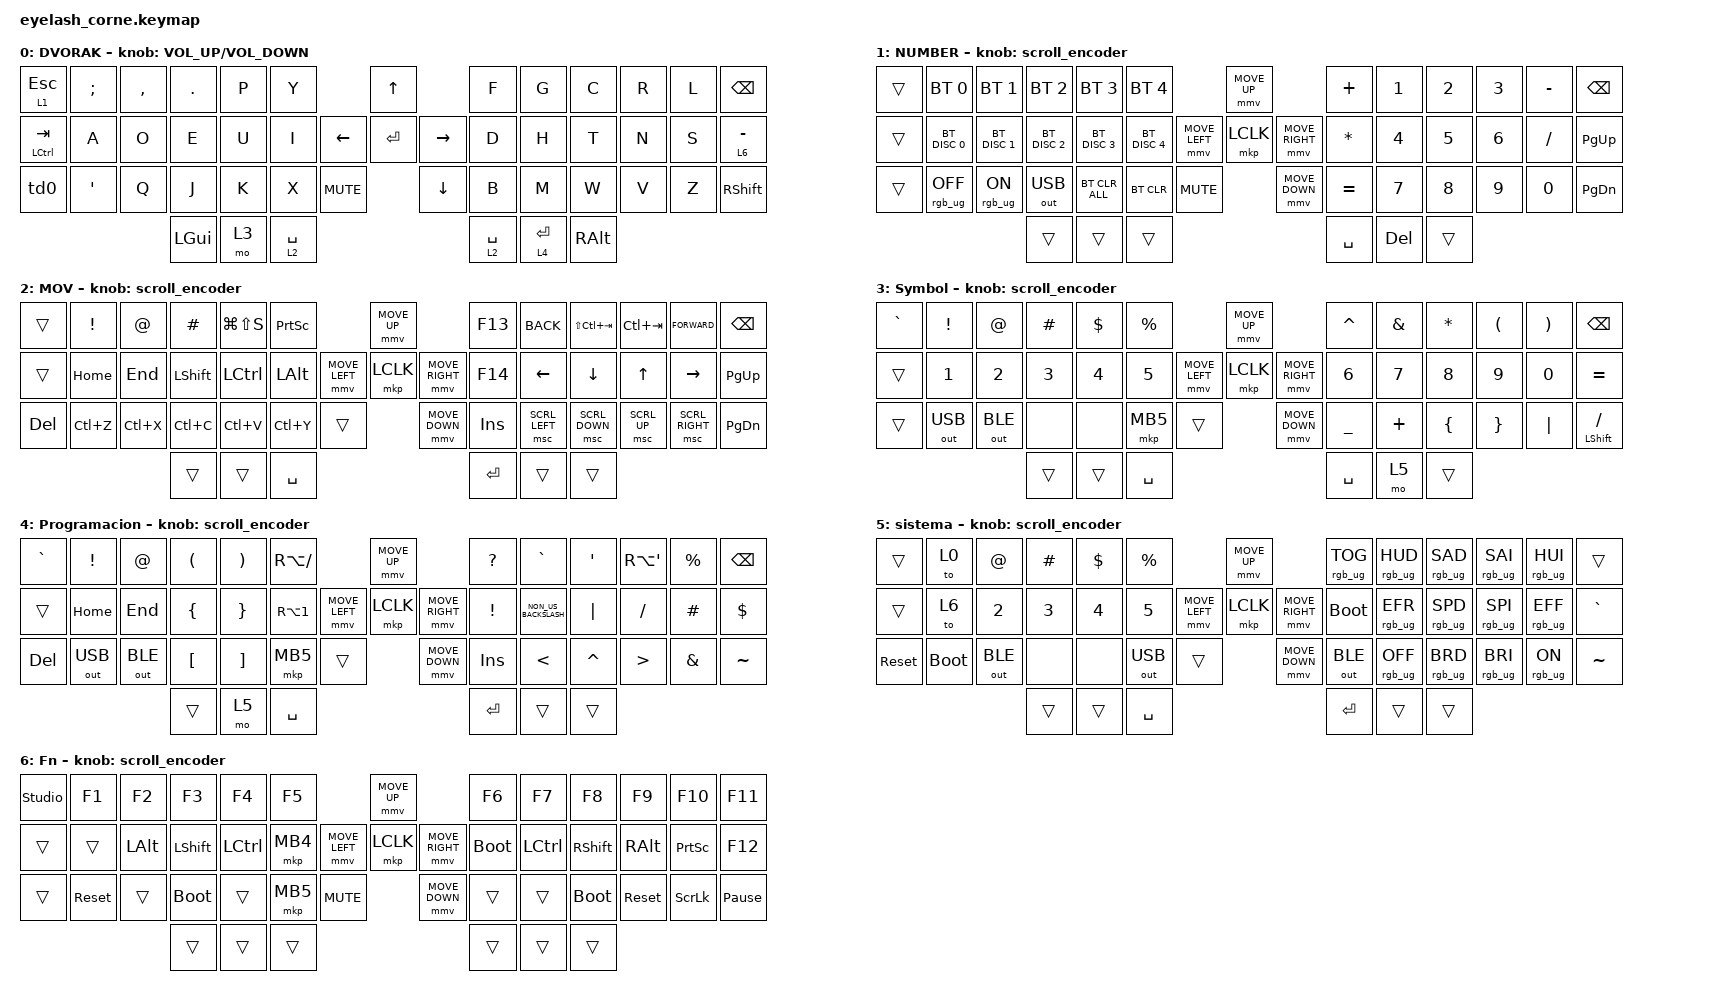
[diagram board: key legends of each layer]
#define ZMK_POINTING_DEFAULT_MOVE_VAL 1200  // 600
#define ZMK_POINTING_DEFAULT_SCRL_VAL 25   // 10

#include <input/processors.dtsi>
#include <zephyr/dt-bindings/input/input-event-codes.h>
#include <behaviors.dtsi>
#include <dt-bindings/zmk/bt.h>
#include <dt-bindings/zmk/keys.h>
#include <dt-bindings/zmk/outputs.h>
#include <dt-bindings/zmk/pointing.h>
#include <dt-bindings/zmk/rgb.h>

&mmv_input_listener { input-processors = <&zip_xy_scaler 2 1>; };

&msc_input_listener { input-processors = <&zip_scroll_scaler 2 1>; };

&msc {
    acceleration-exponent = <1>;      // 0
    time-to-max-speed-ms = <100>;       // 300
    delay-ms = <0>;                   // 0
};

&mmv {
    time-to-max-speed-ms = <500>;
    acceleration-exponent = <1>;
    trigger-period-ms = <16>;
};

/ {
    behaviors {
        td0: td0 {
            compatible = "zmk,behavior-tap-dance";
            display-name = "Shift/Caps Lock Tap Dance";
            #binding-cells = <0>;
            bindings = <&kp LEFT_SHIFT>, <&kp CAPS>;
        };

        manten_presiona: manten_presiona {
            compatible = "zmk,behavior-hold-tap";
            label = "MANTEN_PRESIONA";
            bindings = <&kp>, <&kp>;

            #binding-cells = <2>;
            tapping-term-ms = <280>;
            quick-tap-ms = <175>;
            hold-trigger-key-positions = <40 0 1 2 3 4 5 6 7 8 9 10 11 12 13 14 15 16 17 18 19 20 21 22 23 24 25 26 27 28 29 30 31 32 33 34 35 36 37 38 39 40 41 42 43 44 45 46 47>;
            hold-trigger-on-release;
        };
    };

    rgb_encoder: rgb_encoder {
        compatible = "zmk,behavior-sensor-rotate";
        #sensor-binding-cells = <0>;
        bindings = <&rgb_ug RGB_BRI>, <&rgb_ug RGB_BRD>;
    };

    scroll_encoder: scroll_encoder {
        compatible = "zmk,behavior-sensor-rotate";
        #sensor-binding-cells = <0>;
        bindings = <&msc SCRL_DOWN>, <&msc SCRL_UP>;

        tap-ms = <100>;
    };

    keymap {
        compatible = "zmk,keymap";

        default_layer {
            display-name = "DVORAK";
            bindings = <
&lt 1 ESCAPE                       &kp SEMICOLON  &kp COMMA  &kp DOT   &kp P  &kp Y                                &kp UP                &kp F        &kp G        &kp C     &kp R  &kp L  &kp BSPC
&manten_presiona LEFT_CONTROL TAB  &kp A          &kp O      &kp E     &kp U  &kp I                      &kp LEFT  &kp ENTER  &kp RIGHT  &kp D        &kp H        &kp T     &kp N  &kp S  &lt 6 MINUS
&td0                               &kp SQT        &kp Q      &kp J     &kp K  &kp X        &kp K_MUTE              &kp DOWN              &kp B        &kp M        &kp W     &kp V  &kp Z  &kp RIGHT_SHIFT
                                                             &kp LGUI  &mo 3  &lt 2 SPACE                                                &lt 2 SPACE  &lt 4 ENTER  &kp RALT
            >;

            sensor-bindings = <&inc_dec_kp C_VOLUME_UP C_VOLUME_DOWN>;
        };

        lower_layer {
            display-name = "NUMBER";
            bindings = <
&trans  &bt BT_SEL 0     &bt BT_SEL 1    &bt BT_SEL 2   &bt BT_SEL 3    &bt BT_SEL 4                                 &mmv MOVE_UP                     &kp PLUS      &kp NUMBER_1  &kp NUMBER_2  &kp NUMBER_3  &kp MINUS  &kp BSPC
&trans  &bt BT_DISC 0    &bt BT_DISC 1   &bt BT_DISC 2  &bt BT_DISC 3   &bt BT_DISC 4                &mmv MOVE_LEFT  &mkp LCLK       &mmv MOVE_RIGHT  &kp ASTERISK  &kp NUMBER_4  &kp N5        &kp NUMBER_6  &kp SLASH  &kp PG_UP
&trans  &rgb_ug RGB_OFF  &rgb_ug RGB_ON  &out OUT_USB   &bt BT_CLR_ALL  &bt BT_CLR     &kp C_MUTE                    &mmv MOVE_DOWN                   &kp EQUAL     &kp N7        &kp NUMBER_8  &kp N9        &kp N0     &kp PG_DN
                                         &trans         &trans          &trans                                                                        &kp SPACE     &kp DEL       &trans
            >;

            sensor-bindings = <&scroll_encoder>;
        };

        movimiento {
            display-name = "MOV";
            bindings = <
&trans      &kp EXCL   &kp AT     &kp HASH        &kp LG(LS(S))     &kp PSCRN                            &mmv MOVE_UP                     &kp F13  &kp K_BACK      &kp LS(LC(TAB))  &kp LC(TAB)   &kp K_FORWARD    &kp BSPC
&trans      &kp HOME   &kp END    &kp LEFT_SHIFT  &kp LEFT_CONTROL  &kp LALT             &mmv MOVE_LEFT  &mkp LCLK       &mmv MOVE_RIGHT  &kp F14  &kp LEFT        &kp DOWN_ARROW   &kp UP_ARROW  &kp RIGHT        &kp PG_UP
&kp DELETE  &kp LC(Z)  &kp LC(X)  &kp LC(C)       &kp LC(V)         &kp LC(Y)  &trans                    &mmv MOVE_DOWN                   &kp INS  &msc SCRL_LEFT  &msc SCRL_DOWN   &msc SCRL_UP  &msc SCRL_RIGHT  &kp PAGE_DOWN
                                  &trans          &trans            &kp SPACE                                                             &kp RET  &trans          &trans
            >;

            sensor-bindings = <&scroll_encoder>;
        };

        layer_5 {
            display-name = "Symbol";
            bindings = <
&kp GRAVE  &kp EXCL      &kp AT        &kp HASH      &kp DLLR      &kp PRCNT                            &mmv MOVE_UP                     &kp CARET     &kp AMPS  &kp ASTRK  &kp LPAR  &kp RPAR  &kp BSPC
&trans     &kp NUMBER_1  &kp NUMBER_2  &kp NUMBER_3  &kp NUMBER_4  &kp N5               &mmv MOVE_LEFT  &mkp LCLK       &mmv MOVE_RIGHT  &kp NUMBER_6  &kp N7    &kp N8     &kp N9    &kp N0    &kp EQUAL
&trans     &out OUT_USB  &out OUT_BLE  &none         &none         &mkp MB5   &trans                    &mmv MOVE_DOWN                   &kp UNDER     &kp PLUS  &kp LBRC   &kp RBRC  &kp PIPE  &manten_presiona LEFT_SHIFT SLASH
                                       &trans        &trans        &kp SPACE                                                             &kp SPACE     &mo 5     &trans
            >;

            sensor-bindings = <&scroll_encoder>;
        };

        SymbolProgramacion {
            display-name = "Programacion";
            bindings = <
&kp GRAVE   &kp EXCL      &kp AT        &kp LPAR          &kp RIGHT_PARENTHESIS  &kp RA(SLASH)                               &mmv MOVE_UP                     &kp QUESTION     &kp GRAVE             &kp SQT    &kp RA(SQT)       &kp PERCENT  &kp BSPC
&trans      &kp HOME      &kp END       &kp LEFT_BRACE    &kp RIGHT_BRACE        &kp RA(NUMBER_1)            &mmv MOVE_LEFT  &mkp LCLK       &mmv MOVE_RIGHT  &kp EXCLAMATION  &kp NON_US_BACKSLASH  &kp PIPE   &kp SLASH         &kp HASH     &kp DOLLAR
&kp DELETE  &out OUT_USB  &out OUT_BLE  &kp LEFT_BRACKET  &kp RIGHT_BRACKET      &mkp MB5          &trans                    &mmv MOVE_DOWN                   &kp INS          &kp LESS_THAN         &kp CARET  &kp GREATER_THAN  &kp AMPS     &kp TILDE
                                        &trans            &mo 5                  &kp SPACE                                                                    &kp RET          &trans                &trans
            >;

            sensor-bindings = <&scroll_encoder>;
        };

        sistemaRGB {
            display-name = "sistema";
            bindings = <
&trans      &to 0        &kp AT        &kp HASH      &kp DLLR      &kp PRCNT                               &mmv MOVE_UP                     &rgb_ug RGB_TOG  &rgb_ug RGB_HUD  &rgb_ug RGB_SAD  &rgb_ug RGB_SAI  &rgb_ug RGB_HUI  &trans
&trans      &to 6        &kp NUMBER_2  &kp NUMBER_3  &kp NUMBER_4  &kp N5                  &mmv MOVE_LEFT  &mkp LCLK       &mmv MOVE_RIGHT  &bootloader      &rgb_ug RGB_EFR  &rgb_ug RGB_SPD  &rgb_ug RGB_SPI  &rgb_ug RGB_EFF  &kp GRAVE
&sys_reset  &bootloader  &out OUT_BLE  &none         &none         &out OUT_USB  &trans                    &mmv MOVE_DOWN                   &out OUT_BLE     &rgb_ug RGB_OFF  &rgb_ug RGB_BRD  &rgb_ug RGB_BRI  &rgb_ug RGB_ON   &kp TILDE
                                       &trans        &trans        &kp SPACE                                                                &kp RET          &trans           &trans
            >;

            sensor-bindings = <&scroll_encoder>;
        };

        Funcion_Fn {
            display-name = "Fn";
            bindings = <
&studio_unlock  &kp F1      &kp F2        &kp F3          &kp F4            &kp F5                                  &mmv MOVE_UP                     &kp F6       &kp F7            &kp F8           &kp F9         &kp F10          &kp F11
&trans          &trans      &kp LEFT_ALT  &kp LEFT_SHIFT  &kp LEFT_CONTROL  &mkp MB4                &mmv MOVE_LEFT  &mkp LCLK       &mmv MOVE_RIGHT  &bootloader  &kp LEFT_CONTROL  &kp RIGHT_SHIFT  &kp RIGHT_ALT  &kp PRINTSCREEN  &kp F12
&trans          &sys_reset  &trans        &bootloader     &trans            &mkp MB5  &kp C_MUTE                    &mmv MOVE_DOWN                   &trans       &trans            &bootloader      &sys_reset     &kp SCROLLLOCK   &kp PAUSE_BREAK
                                          &trans          &trans            &trans                                                                   &trans       &trans            &trans
            >;

            sensor-bindings = <&scroll_encoder>;
        };
    };
};
